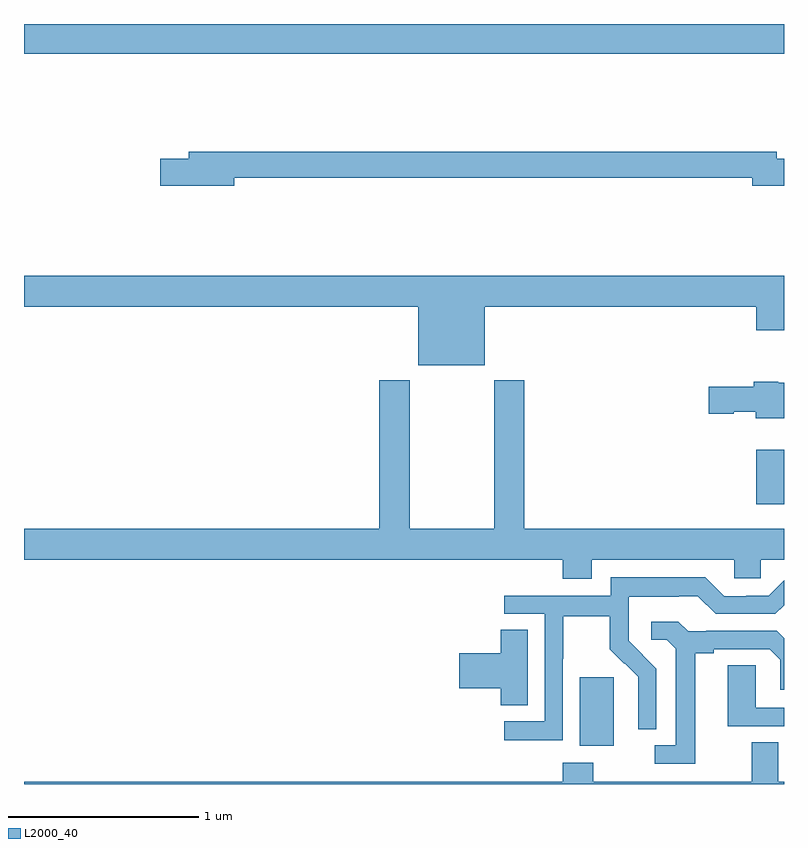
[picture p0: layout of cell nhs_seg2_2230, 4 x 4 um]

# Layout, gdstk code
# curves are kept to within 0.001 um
import gdstk
lib = gdstk.Library(unit=1e-6, precision=1e-09)
def R(c, l, rs):  # rectangles x0, y0, x1, y1
    for r in rs: c.add(gdstk.rectangle(r[:2], r[2:], *l))
def P(c, l, *ps):  # polygons
    for p in ps: c.add(gdstk.Polygon(p, *l))
L2000_40 = (2000, 40)

nhs_seg2_2230 = lib.new_cell('nhs_seg2_2230')
R(nhs_seg2_2230, L2000_40, [(229.925,636.002,230.104,636.363), (230.855,637.272,231,637.558), (227,639.644,231,639.8)])
P(nhs_seg2_2230, L2000_40, [(228.106,638.992),(230.834,638.992),(230.834,638.95),(231,638.95),(231,639.092),(230.962,639.092),(230.962,639.128),(227.867,639.128),(227.867,639.092),(227.718,639.092),(227.718,638.95),(228.106,638.95)],
  [(229.426,638.312),(230.855,638.312),(230.855,638.188),(231,638.188),(231,638.476),(227,638.476),(227,638.312),(229.076,638.312),(229.076,638.003),(229.426,638.003)],
  [(229.987,636.98),(230.739,636.98),(230.739,636.882),(230.877,636.882),(230.877,636.98),(231,636.98),(231,637.144),(229.634,637.144),(229.634,637.924),(229.474,637.924),(229.474,637.144),(229.029,637.144),(229.029,637.924),(228.869,637.924),(228.869,637.144),(227,637.144),(227,636.98),(229.835,636.98),(229.835,636.881),(229.987,636.881)],
  [(231,637.912),(230.97,637.912),(230.97,637.918),(230.84,637.918),(230.84,637.89),(230.604,637.89),(230.604,637.748),(230.736,637.748),(230.736,637.76),(230.852,637.76),(230.852,637.724),(231,637.724)],
  [(229.836,636.46),(229.839,636.46),(229.839,636.684),(230.083,636.684),(230.083,636.509),(230.16,636.432),(230.163,636.435),(230.234,636.365),(230.234,636.242),(230.232,636.242),(230.232,636.088),(230.328,636.088),(230.328,636.406),(230.182,636.554),(230.182,636.651),(230.184,636.651),(230.184,636.785),(230.447,636.785),(230.447,636.789),(230.547,636.789),(230.64,636.696),(230.955,636.696),(231,636.741),(231,636.873),(230.919,636.792),(230.801,636.792),(230.801,636.789),(230.685,636.789),(230.585,636.889),(230.088,636.889),(230.088,636.792),(229.527,636.792),(229.527,636.696),(229.74,636.696),(229.74,636.129),(229.527,636.129),(229.527,636.031),(229.836,636.031)],
  [(230.533,636.488),(230.629,636.488),(230.629,636.51),(230.924,636.51),(230.981,636.453),(230.981,636.297),(231,636.297),(231,636.568),(230.962,636.606),(230.59,636.606),(230.59,636.603),(230.496,636.603),(230.444,636.655),(230.301,636.655),(230.301,636.558),(230.382,636.558),(230.429,636.511),(230.429,636.003),(230.319,636.003),(230.319,635.907),(230.533,635.907)],
  [(229.651,636.611),(229.508,636.611),(229.508,636.488),(229.29,636.488),(229.29,636.305),(229.508,636.305),(229.508,636.214),(229.651,636.214)],
  [(231,636.201),(230.85,636.201),(230.85,636.425),(230.705,636.425),(230.705,636.105),(231,636.105)],
  [(231,635.812),(230.971,635.812),(230.971,636.02),(230.831,636.02),(230.831,635.812),(229.995,635.812),(229.995,635.911),(229.835,635.911),(229.835,635.812),(227,635.812),(227,635.8),(231,635.8)])

lib.write_gds('nhs_seg2_2230.gds')
